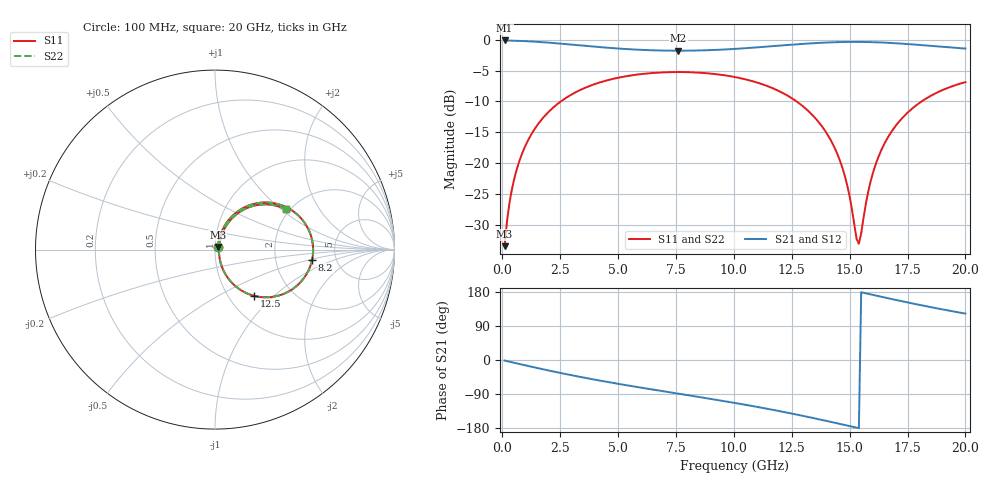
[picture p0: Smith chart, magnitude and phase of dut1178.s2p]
! Touchstone file exported from HFSS 2026.1.0
!  File:  C:/ffzhzh/LocalFiles/Ansys_Project_Files/temp_train_TSV_RDL_1178_1783315418_5512.aedt
!  Generated:  01:34:40 PM Jul  6, 2026
!  Design:  TSV_RDL
!  Project:  temp_train_TSV_RDL_1178_1783315418_5512
! Variables:
!  h_bsmrdl = 3.53um
!  h_ox = 20um
!  h_rdl = 5um
!  h_sub = 72.18um
!  h_tmrdl = 4.61um
!  h_tsv = 72.18um
!  h_via = 3um
!  l_bsmrdl = 187.41um
!  l_sub = 4040.82um
!  l_tmrdl = 734.51um
!  m_sub = 200um
!  pitch = 53.59um
!  r_tsv = 4.63um
!  s_tmrdl = 10um
!  w_bsmrdl = 21.6um
!  w_sub = 500um
!  w_tmrdl = 25.25um
!  x_tsv_center1 = 747.135um
!  x_tsv_center2 = 956.145um
!  x_tsv_center3 = 1715.905um
!  x_tsv_center4 = 1924.915um
!  x_tsv_center5 = 2684.675um
!  x_tsv_center6 = 2893.685um
# GHz S MA R 50.000000
! Terminal data exported
! Port[1] = TM_RDL1_1_T1
! Port[2] = TM_RDL5_1_T1
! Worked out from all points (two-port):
!   200 points, 100 MHz to 20 GHz, reference 50 ohm
!   highest |S21| = -0.13 dB at 100 MHz (marker M1); lowest = -1.8 dB at 7.6 GHz (marker M2)
!   |S21| within 3 dB of the highest: start of sweep to end of sweep
!   lowest |S11| = -33.4 dB at 100 MHz (marker M3), VSWR 1.04, Z = 51.6 + j1.51 ohm
!   |S11| at or under -10 dB: start of sweep to 2.527 GHz; 12.71 GHz to 18.11 GHz (5.399 GHz wide, 35 % of centre)
!   |S22| runs from -33.4 to -5.2 dB; largest |S21 - S12| = 1.7e-14
!   S11 on the Smith chart (normalised r, x): 100 MHz: 1.03, +0.03; 8.2 GHz: 3.29, -0.54; 12.5 GHz: 1.30, -0.76; 20 GHz: 1.90, +1.07
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0.1  0.02134 43.2  0.9847 -1.5  0.9847 -1.5  0.02134 43.2
! Gamma 0 0 0 0
! Port Impedance 50 0 50 0
0.3  0.04639 64.7  0.9825 -4.4  0.9825 -4.4  0.04639 64.7
0.5  0.07275 69.0  0.9802 -7.2  0.9802 -7.2  0.07275 69.0
1.1  0.1516 67.4  0.9701 -15.5  0.9701 -15.5  0.1516 67.4
2.1  0.2716 56.8  0.9423 -29.0  0.9423 -29.0  0.2716 56.8
3.5  0.4019 40.6  0.8933 -46.2  0.8933 -46.2  0.4019 40.6
6.8  0.5418 7.1  0.8168 -81.0  0.8168 -81.0  0.5418 7.1
7.6  0.5469 -0.5  0.8134 -88.8  0.8134 -88.8  0.5468 -0.4
8.2  0.544 -6.1  0.8151 -94.7  0.8151 -94.7  0.544 -6.1
10.1  0.4958 -24.5  0.8427 -113.9  0.8427 -113.9  0.4957 -24.5
12.5  0.336 -50.0  0.9101 -141.3  0.9101 -141.3  0.3359 -49.9
13.4  0.2448 -59.7  0.9347 -152.8  0.9347 -152.8  0.2448 -59.7
14.1  0.164 -66.2  0.9491 -162.1  0.9491 -162.1  0.1639 -66.2
14.6  0.1028 -68.2  0.9557 -168.9  0.9557 -168.9  0.1027 -68.1
14.9  0.06587 -65.0  0.9579 -173.0  0.9579 -173.0  0.06585 -64.9
15.3  0.02448 -25.0  0.9585 -178.5  0.9585 -178.5  0.02451 -24.9
15.4  0.02234 5.3  0.9583 -179.9  0.9583 -179.9  0.02241 5.4
15.8  0.05855 60.9  0.9558 174.6  0.9558 174.6  0.0586 60.9
16  0.08269 65.0  0.9536 171.8  0.9536 171.8  0.08274 65.0
16.7  0.1673 63.7  0.9417 162.4  0.9417 162.4  0.1673 63.7
18  0.3062 50.8  0.9066 145.6  0.9066 145.6  0.3062 50.9
20  0.4531 29.7  0.8466 122.4  0.8466 122.4  0.4531 29.7
